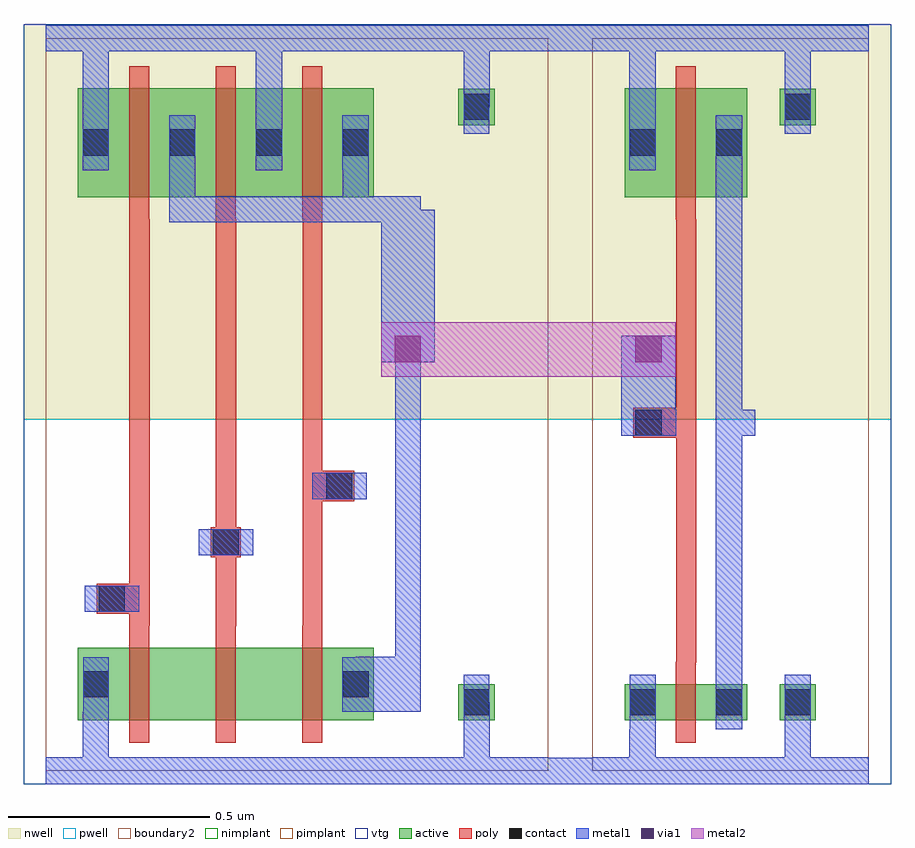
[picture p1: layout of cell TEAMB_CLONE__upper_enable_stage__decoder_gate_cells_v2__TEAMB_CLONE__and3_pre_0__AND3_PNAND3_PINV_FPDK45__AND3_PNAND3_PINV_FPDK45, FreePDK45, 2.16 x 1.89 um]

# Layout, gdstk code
import gdstk
lib = gdstk.Library(unit=1e-6, precision=1e-09)
def R(c, l, rs):  # rectangles x0, y0, x1, y1
    for r in rs: c.add(gdstk.rectangle(r[:2], r[2:], *l))
active = (1, 0)
pwell = (2, 0)
nwell = (3, 0)
nimplant = (4, 0)
pimplant = (5, 0)
vtg = (6, 0)
poly = (9, 0)
contact = (10, 0)
metal1 = (11, 0)
via1 = (12, 0)
metal2 = (13, 0)
boundary2 = (239, 0)

teamb_clone__upper_enabl = lib.new_cell('TEAMB_CLONE__upper_enable_stage__decoder_gate_cells_v2__TEAMB_CLONE__and3_pre_0__AND3_PNAND3_PINV_FPDK45__TEAMB_CLONE__nand3__PNAND3_NW180_PW270_L50_FPDK45__PNAND3_NW180_PW270_L50_FPDK45_contact_8')
R(teamb_clone__upper_enabl, active, [(0,0.022,0.09,0.112)])
R(teamb_clone__upper_enabl, nwell, [(-0.055,-0.033,0.145,0.168)])
R(teamb_clone__upper_enabl, pimplant, [(0,0.022,0.09,0.112)])
R(teamb_clone__upper_enabl, contact, [(0.013,0.035,0.077,0.1)])
R(teamb_clone__upper_enabl, metal1, [(0.013,0,0.077,0.135)])
R(teamb_clone__upper_enabl, boundary2, [(-0.055,-0.033,0.145,0.168)])

c_teamb_clone__upper_enabl = lib.new_cell('TEAMB_CLONE__upper_enable_stage__decoder_gate_cells_v2__TEAMB_CLONE__and3_pre_0__AND3_PNAND3_PINV_FPDK45__TEAMB_CLONE__nand3__PNAND3_NW180_PW270_L50_FPDK45__PNAND3_NW180_PW270_L50_FPDK45_pmos_m1_w0_270_sm1_dm1')
R(c_teamb_clone__upper_enabl, active, [(0,0,0.305,0.27)])
R(c_teamb_clone__upper_enabl, nwell, [(-0.08,-0.08,0.385,0.35)])
R(c_teamb_clone__upper_enabl, pimplant, [(0,0,0.305,0.27)])
R(c_teamb_clone__upper_enabl, vtg, [(-0.08,-0.08,0.385,0.35)])
R(c_teamb_clone__upper_enabl, poly, [(0.127,-0.055,0.177,0.325), (0.127,-0.055,0.177,0.325)])
R(c_teamb_clone__upper_enabl, metal1, [(0.013,0.068,0.077,0.203), (0.227,0.068,0.292,0.203)])
R(c_teamb_clone__upper_enabl, boundary2, [(-0.08,-0.08,0.385,0.35)])
c_teamb_clone__upper_enabl.add(gdstk.Reference(teamb_clone__upper_enabl, (0,0.068)))
c_teamb_clone__upper_enabl.add(gdstk.Reference(teamb_clone__upper_enabl, (0.215,0.068)))

c_teamb_clone__upper_enabl_ = lib.new_cell('TEAMB_CLONE__upper_enable_stage__decoder_gate_cells_v2__TEAMB_CLONE__and3_pre_0__AND3_PNAND3_PINV_FPDK45__TEAMB_CLONE__nand3__PNAND3_NW180_PW270_L50_FPDK45__PNAND3_NW180_PW270_L50_FPDK45_contact_7')
R(c_teamb_clone__upper_enabl_, active, [(0,0.022,0.09,0.112)])
R(c_teamb_clone__upper_enabl_, pwell, [(-0.055,-0.033,0.145,0.168)])
R(c_teamb_clone__upper_enabl_, nimplant, [(0,0.022,0.09,0.112)])
R(c_teamb_clone__upper_enabl_, contact, [(0.013,0.035,0.077,0.1)])
R(c_teamb_clone__upper_enabl_, metal1, [(0.013,0,0.077,0.135)])
R(c_teamb_clone__upper_enabl_, boundary2, [(-0.055,-0.033,0.145,0.168)])

c_teamb_clone__upper_enabl__ = lib.new_cell('TEAMB_CLONE__upper_enable_stage__decoder_gate_cells_v2__TEAMB_CLONE__and3_pre_0__AND3_PNAND3_PINV_FPDK45__TEAMB_CLONE__nand3__PNAND3_NW180_PW270_L50_FPDK45__PNAND3_NW180_PW270_L50_FPDK45_nmos_m1_w0_180_sm1_dactive')
R(c_teamb_clone__upper_enabl__, active, [(0,0,0.305,0.18), (0.215,0.045,0.305,0.135)])
R(c_teamb_clone__upper_enabl__, pwell, [(-0.08,-0.08,0.385,0.26)])
R(c_teamb_clone__upper_enabl__, nimplant, [(0,0,0.305,0.18)])
R(c_teamb_clone__upper_enabl__, vtg, [(-0.08,-0.08,0.385,0.26)])
R(c_teamb_clone__upper_enabl__, poly, [(0.127,-0.055,0.177,0.235), (0.127,-0.055,0.177,0.235)])
R(c_teamb_clone__upper_enabl__, metal1, [(0.013,0.022,0.077,0.157)])
R(c_teamb_clone__upper_enabl__, boundary2, [(-0.08,-0.08,0.385,0.26)])
c_teamb_clone__upper_enabl__.add(gdstk.Reference(c_teamb_clone__upper_enabl_, (0,0.022)))

c_teamb_clone__upper_enabl___ = lib.new_cell('TEAMB_CLONE__upper_enable_stage__decoder_gate_cells_v2__TEAMB_CLONE__and3_pre_0__AND3_PNAND3_PINV_FPDK45__TEAMB_CLONE__nand3__PNAND3_NW180_PW270_L50_FPDK45__PNAND3_NW180_PW270_L50_FPDK45_nmos_m1_w0_180_sactive_dactive')
R(c_teamb_clone__upper_enabl___, active, [(0,0,0.305,0.18), (0,0.045,0.09,0.135), (0.215,0.045,0.305,0.135)])
R(c_teamb_clone__upper_enabl___, pwell, [(-0.08,-0.08,0.385,0.26)])
R(c_teamb_clone__upper_enabl___, nimplant, [(0,0,0.305,0.18)])
R(c_teamb_clone__upper_enabl___, vtg, [(-0.08,-0.08,0.385,0.26)])
R(c_teamb_clone__upper_enabl___, poly, [(0.127,-0.055,0.177,0.235), (0.127,-0.055,0.177,0.235)])
R(c_teamb_clone__upper_enabl___, boundary2, [(-0.08,-0.08,0.385,0.26)])

c_teamb_clone__upper_enabl____ = lib.new_cell('TEAMB_CLONE__upper_enable_stage__decoder_gate_cells_v2__TEAMB_CLONE__and3_pre_0__AND3_PNAND3_PINV_FPDK45__TEAMB_CLONE__nand3__PNAND3_NW180_PW270_L50_FPDK45__PNAND3_NW180_PW270_L50_FPDK45_nmos_m1_w0_180_sactive_dm1')
R(c_teamb_clone__upper_enabl____, active, [(0,0,0.305,0.18), (0,0.045,0.09,0.135)])
R(c_teamb_clone__upper_enabl____, pwell, [(-0.08,-0.08,0.385,0.26)])
R(c_teamb_clone__upper_enabl____, nimplant, [(0,0,0.305,0.18)])
R(c_teamb_clone__upper_enabl____, vtg, [(-0.08,-0.08,0.385,0.26)])
R(c_teamb_clone__upper_enabl____, poly, [(0.127,-0.055,0.177,0.235), (0.127,-0.055,0.177,0.235)])
R(c_teamb_clone__upper_enabl____, metal1, [(0.227,0.022,0.292,0.157)])
R(c_teamb_clone__upper_enabl____, boundary2, [(-0.08,-0.08,0.385,0.26)])
c_teamb_clone__upper_enabl____.add(gdstk.Reference(c_teamb_clone__upper_enabl_, (0.215,0.022)))

c_teamb_clone__upper_enabl_____ = lib.new_cell('TEAMB_CLONE__upper_enable_stage__decoder_gate_cells_v2__TEAMB_CLONE__and3_pre_0__AND3_PNAND3_PINV_FPDK45__TEAMB_CLONE__nand3__PNAND3_NW180_PW270_L50_FPDK45__PNAND3_NW180_PW270_L50_FPDK45_contact_9')
R(c_teamb_clone__upper_enabl_____, active, [(0,0.022,0.09,0.112)])
R(c_teamb_clone__upper_enabl_____, nwell, [(-0.055,-0.033,0.145,0.168)])
R(c_teamb_clone__upper_enabl_____, nimplant, [(0,0.022,0.09,0.112)])
R(c_teamb_clone__upper_enabl_____, contact, [(0.013,0.035,0.077,0.1)])
R(c_teamb_clone__upper_enabl_____, metal1, [(0.013,0,0.077,0.135)])
R(c_teamb_clone__upper_enabl_____, boundary2, [(-0.055,-0.033,0.145,0.168)])

c_teamb_clone__upper_enabl______ = lib.new_cell('TEAMB_CLONE__upper_enable_stage__decoder_gate_cells_v2__TEAMB_CLONE__and3_pre_0__AND3_PNAND3_PINV_FPDK45__TEAMB_CLONE__nand3__PNAND3_NW180_PW270_L50_FPDK45__PNAND3_NW180_PW270_L50_FPDK45_contact_10')
R(c_teamb_clone__upper_enabl______, active, [(0,0.022,0.09,0.112)])
R(c_teamb_clone__upper_enabl______, pwell, [(-0.055,-0.033,0.145,0.168)])
R(c_teamb_clone__upper_enabl______, pimplant, [(0,0.022,0.09,0.112)])
R(c_teamb_clone__upper_enabl______, contact, [(0.013,0.035,0.077,0.1)])
R(c_teamb_clone__upper_enabl______, metal1, [(0.013,0,0.077,0.135)])
R(c_teamb_clone__upper_enabl______, boundary2, [(-0.055,-0.033,0.145,0.168)])

c_teamb_clone__upper_enabl_______ = lib.new_cell('TEAMB_CLONE__upper_enable_stage__decoder_gate_cells_v2__TEAMB_CLONE__and3_pre_0__AND3_PNAND3_PINV_FPDK45__TEAMB_CLONE__nand3__PNAND3_NW180_PW270_L50_FPDK45__PNAND3_NW180_PW270_L50_FPDK45_contact_11')
R(c_teamb_clone__upper_enabl_______, poly, [(0.03,0,0.105,0.075)])
R(c_teamb_clone__upper_enabl_______, contact, [(0.035,0.005,0.1,0.07)])
R(c_teamb_clone__upper_enabl_______, metal1, [(0,0.005,0.135,0.07)])
R(c_teamb_clone__upper_enabl_______, boundary2, [(0,0,0.135,0.075)])

c_teamb_clone__upper_enabl________ = lib.new_cell('TEAMB_CLONE__upper_enable_stage__decoder_gate_cells_v2__TEAMB_CLONE__and3_pre_0__AND3_PNAND3_PINV_FPDK45__TEAMB_CLONE__nand3__PNAND3_NW180_PW270_L50_FPDK45__PNAND3_NW180_PW270_L50_FPDK45_pnand3')
R(c_teamb_clone__upper_enabl________, pwell, [(-0.055,-0.033,1.302,0.873)])
R(c_teamb_clone__upper_enabl________, nwell, [(-0.055,0.873,1.302,1.855)])
R(c_teamb_clone__upper_enabl________, vtg, [(-0.055,-0.033,1.302,0.873), (-0.055,0.873,1.302,1.855)])
R(c_teamb_clone__upper_enabl________, poly, [(0.208,0.36,0.258,1.37), (0.422,0.36,0.473,1.37), (0.638,0.36,0.687,1.37), (0.165,0.39,0.208,0.465), (0.422,0.53,0.447,0.605), (0.638,0.67,0.73,0.745)])
R(c_teamb_clone__upper_enabl________, metal1, [(0,-0.033,1.248,0.033), (0.092,-0.033,0.157,0.147), (1.038,0,1.103,0.17), (0.77,0.147,0.9,0.283), (0.868,0.147,0.932,1.395), (0.097,0.395,0.232,0.46), (0.38,0.535,0.515,0.6), (0.662,0.675,0.797,0.74), (0.307,1.363,0.372,1.427), (0.34,1.363,0.9,1.427), (0.738,1.363,0.802,1.427), (0.77,1.363,0.9,1.427), (0.868,1.363,0.932,1.427), (0.307,1.395,0.372,1.56), (0.738,1.395,0.802,1.56), (0.092,1.492,0.157,1.852), (0.522,1.492,0.588,1.852), (1.038,1.65,1.103,1.82), (0,1.787,1.248,1.852)])
R(c_teamb_clone__upper_enabl________, boundary2, [(0,0,1.248,1.82), (0,0,1.248,1.82)])
c_teamb_clone__upper_enabl________.add(gdstk.Reference(c_teamb_clone__upper_enabl, (0.08,1.425)))
c_teamb_clone__upper_enabl________.add(gdstk.Reference(c_teamb_clone__upper_enabl, (0.295,1.425)))
c_teamb_clone__upper_enabl________.add(gdstk.Reference(c_teamb_clone__upper_enabl, (0.51,1.425)))
c_teamb_clone__upper_enabl________.add(gdstk.Reference(c_teamb_clone__upper_enabl__, (0.08,0.125)))
c_teamb_clone__upper_enabl________.add(gdstk.Reference(c_teamb_clone__upper_enabl___, (0.295,0.125)))
c_teamb_clone__upper_enabl________.add(gdstk.Reference(c_teamb_clone__upper_enabl____, (0.51,0.125)))
c_teamb_clone__upper_enabl________.add(gdstk.Reference(c_teamb_clone__upper_enabl_____, (1.025,1.582)))
c_teamb_clone__upper_enabl________.add(gdstk.Reference(c_teamb_clone__upper_enabl______, (1.025,0.103)))
c_teamb_clone__upper_enabl________.add(gdstk.Reference(c_teamb_clone__upper_enabl_______, (0.097,0.39)))
c_teamb_clone__upper_enabl________.add(gdstk.Reference(c_teamb_clone__upper_enabl_______, (0.38,0.53)))
c_teamb_clone__upper_enabl________.add(gdstk.Reference(c_teamb_clone__upper_enabl_______, (0.662,0.67)))

c_teamb_clone__upper_enabl_________ = lib.new_cell('TEAMB_CLONE__upper_enable_stage__decoder_gate_cells_v2__TEAMB_CLONE__and3_pre_0__AND3_PNAND3_PINV_FPDK45__TEAMB_CLONE__nand3__PNAND3_NW180_PW270_L50_FPDK45__PNAND3_NW180_PW270_L50_FPDK45')
R(c_teamb_clone__upper_enabl_________, metal1, [(0,-0.033,1.248,0.033), (0.097,0.395,0.232,0.46), (0.38,0.535,0.515,0.6), (0.662,0.675,0.797,0.74), (0.868,1.363,0.932,1.427), (0,1.787,1.248,1.852)])
R(c_teamb_clone__upper_enabl_________, boundary2, [(0,0,1.248,1.82)])
c_teamb_clone__upper_enabl_________.add(gdstk.Reference(c_teamb_clone__upper_enabl________, (0,0)))

c_teamb_clone__upper_enabl__________ = lib.new_cell('TEAMB_CLONE__upper_enable_stage__decoder_gate_cells_v2__TEAMB_CLONE__and3_pre_0__AND3_PNAND3_PINV_FPDK45__TEAMB_CLONE__inv__PINV_NW90_PW270_L50__TRANSMISSION_GATE_NW250_PW500_L50_contact_8')
R(c_teamb_clone__upper_enabl__________, active, [(0,0.022,0.09,0.112)])
R(c_teamb_clone__upper_enabl__________, nwell, [(-0.055,-0.033,0.145,0.168)])
R(c_teamb_clone__upper_enabl__________, pimplant, [(0,0.022,0.09,0.112)])
R(c_teamb_clone__upper_enabl__________, contact, [(0.013,0.035,0.077,0.1)])
R(c_teamb_clone__upper_enabl__________, metal1, [(0.013,0,0.077,0.135)])
R(c_teamb_clone__upper_enabl__________, boundary2, [(-0.055,-0.033,0.145,0.168)])

c_teamb_clone__upper_enabl___________ = lib.new_cell('TEAMB_CLONE__upper_enable_stage__decoder_gate_cells_v2__TEAMB_CLONE__and3_pre_0__AND3_PNAND3_PINV_FPDK45__TEAMB_CLONE__inv__PINV_NW90_PW270_L50__PINV_NW180_PW270_L50_pmos_m1_w0_270_sm1_dm1_da_p')
R(c_teamb_clone__upper_enabl___________, active, [(0,0,0.305,0.27)])
R(c_teamb_clone__upper_enabl___________, nwell, [(-0.08,-0.08,0.385,0.35)])
R(c_teamb_clone__upper_enabl___________, pimplant, [(0,0,0.305,0.27)])
R(c_teamb_clone__upper_enabl___________, vtg, [(-0.08,-0.08,0.385,0.35)])
R(c_teamb_clone__upper_enabl___________, poly, [(0.127,-0.055,0.177,0.325), (0.127,-0.055,0.177,0.325)])
R(c_teamb_clone__upper_enabl___________, metal1, [(0.013,0.068,0.077,0.203), (0.227,0.068,0.292,0.203)])
R(c_teamb_clone__upper_enabl___________, boundary2, [(-0.08,-0.08,0.385,0.35)])
c_teamb_clone__upper_enabl___________.add(gdstk.Reference(c_teamb_clone__upper_enabl__________, (0,0.068)))
c_teamb_clone__upper_enabl___________.add(gdstk.Reference(c_teamb_clone__upper_enabl__________, (0.215,0.068)))

c_teamb_clone__upper_enabl____________ = lib.new_cell('TEAMB_CLONE__upper_enable_stage__decoder_gate_cells_v2__TEAMB_CLONE__and3_pre_0__AND3_PNAND3_PINV_FPDK45__TEAMB_CLONE__inv__PINV_NW90_PW270_L50__TRANSMISSION_GATE_NW250_PW500_L50_contact_7')
R(c_teamb_clone__upper_enabl____________, active, [(0,0.022,0.09,0.112)])
R(c_teamb_clone__upper_enabl____________, pwell, [(-0.055,-0.033,0.145,0.168)])
R(c_teamb_clone__upper_enabl____________, nimplant, [(0,0.022,0.09,0.112)])
R(c_teamb_clone__upper_enabl____________, contact, [(0.013,0.035,0.077,0.1)])
R(c_teamb_clone__upper_enabl____________, metal1, [(0.013,0,0.077,0.135)])
R(c_teamb_clone__upper_enabl____________, boundary2, [(-0.055,-0.033,0.145,0.168)])

c_teamb_clone__upper_enabl_____________ = lib.new_cell('TEAMB_CLONE__upper_enable_stage__decoder_gate_cells_v2__TEAMB_CLONE__and3_pre_0__AND3_PNAND3_PINV_FPDK45__TEAMB_CLONE__inv__PINV_NW90_PW270_L50__PINV_NW90_PW270_L50_nmos_m1_w0_090_sm1_dm1_da_p')
R(c_teamb_clone__upper_enabl_____________, active, [(0,0,0.305,0.09)])
R(c_teamb_clone__upper_enabl_____________, pwell, [(-0.08,-0.08,0.385,0.17)])
R(c_teamb_clone__upper_enabl_____________, nimplant, [(0,0,0.305,0.09)])
R(c_teamb_clone__upper_enabl_____________, vtg, [(-0.08,-0.08,0.385,0.17)])
R(c_teamb_clone__upper_enabl_____________, poly, [(0.127,-0.055,0.177,0.145), (0.127,-0.055,0.177,0.145)])
R(c_teamb_clone__upper_enabl_____________, metal1, [(0.013,-0.022,0.077,0.112), (0.227,-0.022,0.292,0.112)])
R(c_teamb_clone__upper_enabl_____________, boundary2, [(-0.08,-0.08,0.385,0.17)])
c_teamb_clone__upper_enabl_____________.add(gdstk.Reference(c_teamb_clone__upper_enabl____________, (0,-0.022)))
c_teamb_clone__upper_enabl_____________.add(gdstk.Reference(c_teamb_clone__upper_enabl____________, (0.215,-0.022)))

c_teamb_clone__upper_enabl______________ = lib.new_cell('TEAMB_CLONE__upper_enable_stage__decoder_gate_cells_v2__TEAMB_CLONE__and3_pre_0__AND3_PNAND3_PINV_FPDK45__TEAMB_CLONE__inv__PINV_NW90_PW270_L50__TRANSMISSION_GATE_NW250_PW500_L50_contact_9')
R(c_teamb_clone__upper_enabl______________, active, [(0,0.022,0.09,0.112)])
R(c_teamb_clone__upper_enabl______________, nwell, [(-0.055,-0.033,0.145,0.168)])
R(c_teamb_clone__upper_enabl______________, nimplant, [(0,0.022,0.09,0.112)])
R(c_teamb_clone__upper_enabl______________, contact, [(0.013,0.035,0.077,0.1)])
R(c_teamb_clone__upper_enabl______________, metal1, [(0.013,0,0.077,0.135)])
R(c_teamb_clone__upper_enabl______________, boundary2, [(-0.055,-0.033,0.145,0.168)])

c_teamb_clone__upper_enabl_______________ = lib.new_cell('TEAMB_CLONE__upper_enable_stage__decoder_gate_cells_v2__TEAMB_CLONE__and3_pre_0__AND3_PNAND3_PINV_FPDK45__TEAMB_CLONE__inv__PINV_NW90_PW270_L50__TRANSMISSION_GATE_NW250_PW500_L50_contact_10')
R(c_teamb_clone__upper_enabl_______________, active, [(0,0.022,0.09,0.112)])
R(c_teamb_clone__upper_enabl_______________, pwell, [(-0.055,-0.033,0.145,0.168)])
R(c_teamb_clone__upper_enabl_______________, pimplant, [(0,0.022,0.09,0.112)])
R(c_teamb_clone__upper_enabl_______________, contact, [(0.013,0.035,0.077,0.1)])
R(c_teamb_clone__upper_enabl_______________, metal1, [(0.013,0,0.077,0.135)])
R(c_teamb_clone__upper_enabl_______________, boundary2, [(-0.055,-0.033,0.145,0.168)])

c_teamb_clone__upper_enabl________________ = lib.new_cell('TEAMB_CLONE__upper_enable_stage__decoder_gate_cells_v2__TEAMB_CLONE__and3_pre_0__AND3_PNAND3_PINV_FPDK45__TEAMB_CLONE__inv__PINV_NW90_PW270_L50__PINV_NW180_PW270_L50_contact_11')
R(c_teamb_clone__upper_enabl________________, poly, [(0.03,0,0.105,0.075)])
R(c_teamb_clone__upper_enabl________________, contact, [(0.035,0.005,0.1,0.07)])
R(c_teamb_clone__upper_enabl________________, metal1, [(0,0.005,0.135,0.07)])
R(c_teamb_clone__upper_enabl________________, boundary2, [(0,0,0.135,0.075)])

c_teamb_clone__upper_enabl_________________ = lib.new_cell('TEAMB_CLONE__upper_enable_stage__decoder_gate_cells_v2__TEAMB_CLONE__and3_pre_0__AND3_PNAND3_PINV_FPDK45__TEAMB_CLONE__inv__PINV_NW90_PW270_L50__PINV_NW90_PW270_L50_core')
R(c_teamb_clone__upper_enabl_________________, pwell, [(-0.055,-0.033,0.743,0.873)])
R(c_teamb_clone__upper_enabl_________________, nwell, [(-0.055,0.873,0.743,1.855)])
R(c_teamb_clone__upper_enabl_________________, vtg, [(-0.055,-0.033,0.743,0.873), (-0.055,0.873,0.743,1.855)])
R(c_teamb_clone__upper_enabl_________________, poly, [(0.208,0.27,0.258,1.37), (0.14,0.827,0.208,0.902)])
R(c_teamb_clone__upper_enabl_________________, metal1, [(0,-0.033,0.687,0.033), (0.092,-0.033,0.157,0.103), (0.478,0,0.542,0.17), (0.307,0.103,0.372,1.627), (0.072,0.832,0.208,0.897), (0.34,0.832,0.405,0.897), (0.092,1.492,0.157,1.852), (0.478,1.65,0.542,1.82), (0,1.787,0.687,1.852)])
R(c_teamb_clone__upper_enabl_________________, boundary2, [(0,0,0.687,1.82), (0,0,0.687,1.82)])
c_teamb_clone__upper_enabl_________________.add(gdstk.Reference(c_teamb_clone__upper_enabl___________, (0.08,1.425)))
c_teamb_clone__upper_enabl_________________.add(gdstk.Reference(c_teamb_clone__upper_enabl_____________, (0.08,0.125)))
c_teamb_clone__upper_enabl_________________.add(gdstk.Reference(c_teamb_clone__upper_enabl______________, (0.465,1.582)))
c_teamb_clone__upper_enabl_________________.add(gdstk.Reference(c_teamb_clone__upper_enabl_______________, (0.465,0.103)))
c_teamb_clone__upper_enabl_________________.add(gdstk.Reference(c_teamb_clone__upper_enabl________________, (0.072,0.827)))

c_teamb_clone__upper_enabl__________________ = lib.new_cell('TEAMB_CLONE__upper_enable_stage__decoder_gate_cells_v2__TEAMB_CLONE__and3_pre_0__AND3_PNAND3_PINV_FPDK45__TEAMB_CLONE__inv__PINV_NW90_PW270_L50__PINV_NW90_PW270_L50')
R(c_teamb_clone__upper_enabl__________________, metal1, [(0,-0.033,0.687,0.033), (0.072,0.832,0.208,0.897), (0.34,0.832,0.405,0.897), (0,1.787,0.687,1.852)])
R(c_teamb_clone__upper_enabl__________________, boundary2, [(0,0,0.687,1.82)])
c_teamb_clone__upper_enabl__________________.add(gdstk.Reference(c_teamb_clone__upper_enabl_________________, (0,0)))

c_teamb_clone__upper_enabl___________________ = lib.new_cell('TEAMB_CLONE__upper_enable_stage__decoder_gate_cells_v2__TEAMB_CLONE__and3_pre_0__AND3_PNAND3_PINV_FPDK45__AND3_PNAND3_PINV_FPDK45')
R(c_teamb_clone__upper_enabl___________________, metal1, [(0.055,0,2.1,0.065), (1.485,0.897,1.62,1.113), (0.888,1.048,1.022,1.427), (0.055,1.82,2.1,1.885)])
R(c_teamb_clone__upper_enabl___________________, via1, [(0.922,1.048,0.987,1.113), (1.52,1.048,1.585,1.113)])
R(c_teamb_clone__upper_enabl___________________, metal2, [(0.888,1.012,1.022,1.147), (0.955,1.012,1.552,1.147), (1.485,1.012,1.62,1.147)])
c_teamb_clone__upper_enabl___________________.add(gdstk.Reference(c_teamb_clone__upper_enabl_________, (0.055,0.033)))
c_teamb_clone__upper_enabl___________________.add(gdstk.Reference(c_teamb_clone__upper_enabl__________________, (1.413,0.033)))

lib.write_gds('TEAMB_CLONE__upper_enable_stage__decoder_gate_cells_v2__TEAMB_CLONE__and3_pre_0__AND3_PNAND3_PINV_FPDK45__AND3_PNAND3_PINV_FPDK45.gds')
